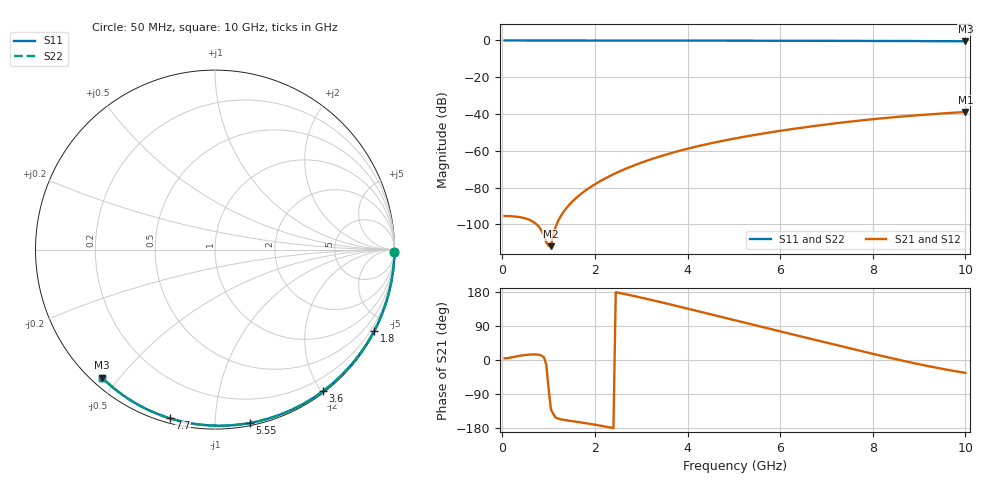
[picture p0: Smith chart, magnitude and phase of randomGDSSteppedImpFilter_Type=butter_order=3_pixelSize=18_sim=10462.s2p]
! freq	dB(S11)	phase(S11)	dB(S12)	phase(S12)
!  dB(S21)	phase(S21)	dB(S22)	phase(S22)
!S-par simulation data
#  GHz  S  DB  R 50
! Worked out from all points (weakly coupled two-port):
!   200 points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, 50 MHz to 10 GHz, reference 50 ohm
!   highest |S21| = -38.84 dB at 10 GHz (marker M1); lowest = -111.8 dB at 1.05 GHz (marker M2)
!   lowest |S11| = -0.4 dB at 10 GHz (marker M3), VSWR 40.24, Z = 1.5 - j22.6 ohm
!   |S11| at or under -10 dB: nowhere
!   |S22| runs from -0.4 to 0.0 dB; largest |S21 - S12| = 0
!   S11 on the Smith chart (normalised r, x): 50 MHz: open; 1.8 GHz: 0.04, -4.18; 3.6 GHz: 0.02, -2.02; 5.55 GHz: 0.02, -1.22; 7.7 GHz: 0.02, -0.77; 10 GHz: 0.03, -0.45
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0.05  -0.00 -0.8  -95.41 4.6  -95.41 4.6  -0.00 -0.8
0.55  -0.01 -8.3  -97.11 13.9  -97.11 13.9  -0.01 -8.3
1.05  -0.02 -15.8  -111.79 -130.6  -111.79 -130.6  -0.02 -15.8
1.75  -0.03 -26.2  -82.39 -165.7  -82.39 -165.7  -0.03 -26.2
1.8  -0.03 -26.9  -81.46 -166.7  -81.46 -166.7  -0.03 -26.9
1.85  -0.04 -27.7  -80.58 -167.7  -80.58 -167.7  -0.04 -27.7
1.9  -0.04 -28.4  -79.74 -168.7  -79.74 -168.7  -0.04 -28.4
2.05  -0.04 -30.6  -77.38 -171.8  -77.38 -171.8  -0.04 -30.6
2.25  -0.04 -33.5  -74.59 -176.3  -74.59 -176.3  -0.04 -33.5
2.65  -0.05 -39.3  -69.87 173.9  -69.87 173.9  -0.05 -39.3
3  -0.06 -44.3  -66.42 164.6  -66.42 164.6  -0.06 -44.3
3.4  -0.07 -49.9  -63.04 153.3  -63.04 153.3  -0.07 -49.9
3.6  -0.07 -52.7  -61.54 147.5  -61.54 147.5  -0.07 -52.7
4.3  -0.09 -62.2  -57.01 126.6  -57.01 126.6  -0.09 -62.2
5.05  -0.11 -72.2  -53.12 104.0  -53.12 104.0  -0.11 -72.2
5.55  -0.13 -78.7  -50.91 89.0  -50.91 89.0  -0.13 -78.7
6.1  -0.15 -85.6  -48.74 72.6  -48.74 72.6  -0.15 -85.6
6.7  -0.18 -93.0  -46.61 54.7  -46.61 54.7  -0.18 -93.0
7.7  -0.24 -105.0  -43.57 25.1  -43.57 25.1  -0.24 -105.0
8.35  -0.29 -112.6  -41.95 6.3  -41.95 6.3  -0.29 -112.6
9.15  -0.35 -121.8  -40.30 -15.0  -40.30 -15.0  -0.35 -121.8
10  -0.43 -131.4  -38.84 -34.0  -38.84 -34.0  -0.43 -131.4
